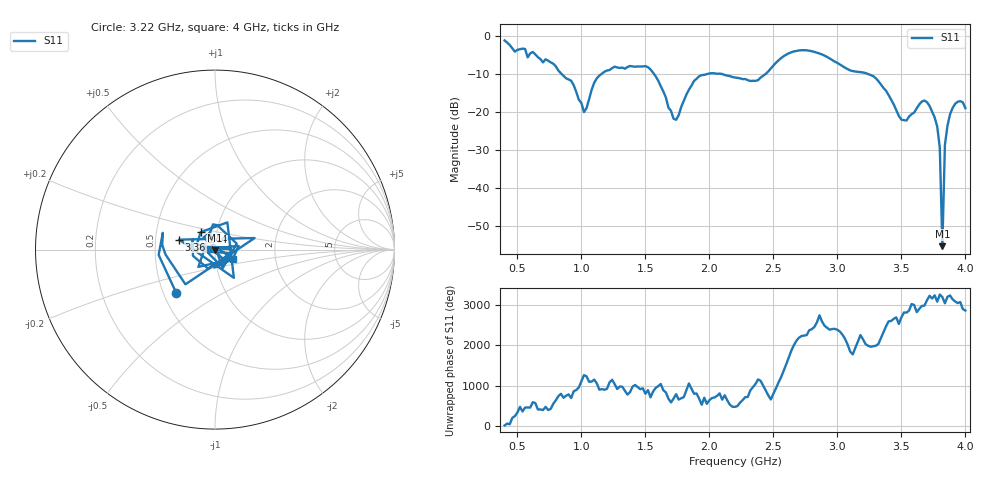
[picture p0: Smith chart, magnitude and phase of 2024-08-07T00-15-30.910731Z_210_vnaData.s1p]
!Created with skrf (http://scikit-rf.org).
# Hz S RI R 50.0
!freq ReS11 ImS11
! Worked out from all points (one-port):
!   181 points, 400 MHz to 4 GHz, reference 50 ohm
!   lowest |S11| = -55.4 dB at 3.82 GHz (marker M1), VSWR 1.00, Z = 50.1 - j0.14 ohm
!   |S11| at or under -10 dB: 1.567 GHz to 1.988 GHz (421.8 MHz wide, 23.7 % of centre); 2.092 GHz to 2.44 GHz (348 MHz wide, 15.4 % of centre); 3.238 GHz to end of sweep (the widest 3 of 4)
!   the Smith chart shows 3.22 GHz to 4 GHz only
!   S11 on the Smith chart (normalised r, x): 3.22 GHz: 0.58, -0.32; 3.36 GHz: 0.66, +0.08; 3.44 GHz: 0.84, +0.17; 4 GHz: 1.21, -0.13
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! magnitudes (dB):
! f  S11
! 400 MHz  -1.2
! 860 MHz  -10.5
! 940 MHz  -13.0
! 1.02 GHz  -20.1
! 1.12 GHz  -11.2
! 1.3 GHz  -8.4
! 1.52 GHz  -8.2
! 1.6 GHz  -11.8
! 1.72 GHz  -21.8
! 1.76 GHz  -20.9
! 1.92 GHz  -10.6
! 2.2 GHz  -11.0
! 2.38 GHz  -11.6
! 2.66 GHz  -4.1
! 3.1 GHz  -9.1
! 3.22 GHz  -9.8
! 3.36 GHz  -13.7
! 3.44 GHz  -18.0
! 3.5 GHz  -22.1
! 3.56 GHz  -21.2
! 3.68 GHz  -17.0
! 3.78 GHz  -23.9
! 3.8 GHz  -29.4
! 3.82 GHz  -55.4
! 3.84 GHz  -28.7
! 3.86 GHz  -23.7
! 3.92 GHz  -17.9
! 4 GHz  -19.0
